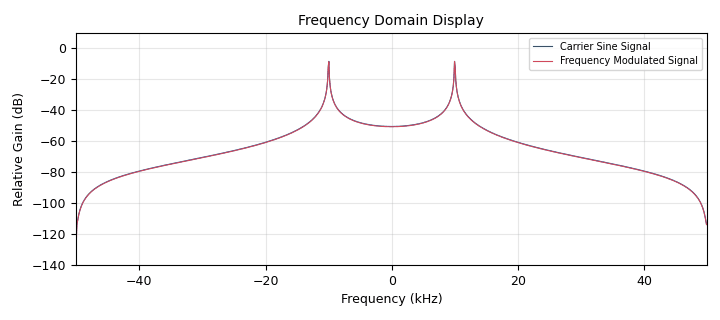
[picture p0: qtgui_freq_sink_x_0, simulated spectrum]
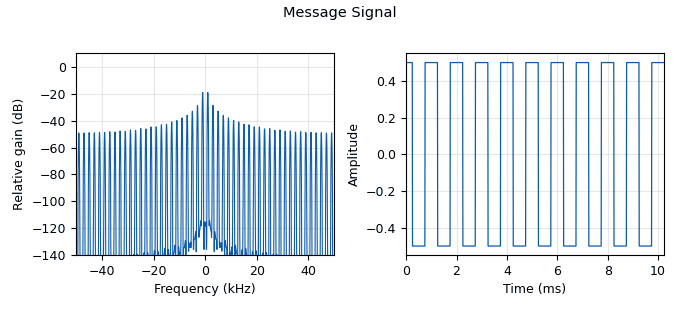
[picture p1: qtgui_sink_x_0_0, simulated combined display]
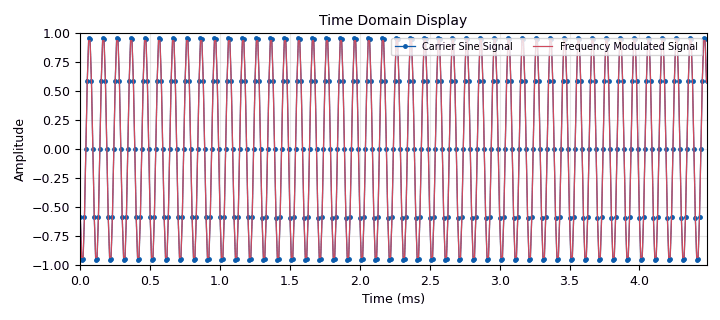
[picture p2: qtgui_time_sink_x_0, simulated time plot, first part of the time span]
options:
  parameters:
    author: Santosh
    copyright: '2022'
    generate_options: qt_gui
    id: Narrow_Band_Freq_Mod
    output_language: python
    title: Narrow_Band_Freq_Mod
  states: {}

blocks:
- name: samp_rate
  id: variable
  parameters:
    value: '100000'
  states: {}
- name: analog_phase_modulator_fc_0
  id: analog_phase_modulator_fc
  parameters:
    sensitivity: '0.2'
  states: {}
- name: analog_sig_source_x_0
  id: analog_sig_source_x
  parameters:
    amp: '1'
    freq: '1000'
    offset: '-0.5'
    phase: '0'
    samp_rate: samp_rate
    type: float
    waveform: analog.GR_SQR_WAVE
  states: {}
- name: analog_sig_source_x_0_0_0
  id: analog_sig_source_x
  parameters:
    amp: '1'
    freq: '10000'
    offset: '0'
    phase: '0'
    samp_rate: samp_rate
    type: float
    waveform: analog.GR_SIN_WAVE
  states: {}
- name: blocks_add_xx_0
  id: blocks_add_xx
  parameters:
    type: float
  states: {}
- name: blocks_complex_to_float_0
  id: blocks_complex_to_float
  parameters: {}
  states: {}
- name: blocks_complex_to_float_0_0
  id: blocks_complex_to_float
  parameters: {}
  states: {}
- name: blocks_float_to_complex_0
  id: blocks_float_to_complex
  parameters: {}
  states: {}
- name: blocks_integrate_xx_0
  id: blocks_integrate_xx
  parameters:
    decim: '2'
    type: float
  states: {}
- name: blocks_multiply_xx_0_0
  id: blocks_multiply_xx
  parameters:
    type: float
  states: {}
- name: blocks_phase_shift_0
  id: blocks_phase_shift
  parameters:
    is_radians: 'False'
    shift: '90'
  states: {}
- name: qtgui_freq_sink_x_0
  id: qtgui_freq_sink_x
  parameters:
    bw: samp_rate
    fc: '0'
    fftsize: '1024'
    label1: Carrier Sine Signal
    label2: Frequency Modulated Signal
    name: Frequency Domain Display
    nconnections: '2'
    type: float
    wintype: window.WIN_RECTANGULAR
  states: {}
- name: qtgui_sink_x_0_0
  id: qtgui_sink_x
  parameters:
    bw: samp_rate
    fc: '0'
    fftsize: '1024'
    name: Message Signal
    type: float
  states: {}
- name: qtgui_time_sink_x_0
  id: qtgui_time_sink_x
  parameters:
    label1: Carrier Sine Signal
    label2: Frequency Modulated Signal
    marker1: '1'
    name: Time Domain Display
    nconnections: '2'
    size: '1024'
    srate: samp_rate
    type: float
  states: {}

connections:
- [analog_phase_modulator_fc_0, '0', blocks_complex_to_float_0_0, '0']
- [analog_sig_source_x_0, '0', blocks_integrate_xx_0, '0']
- [analog_sig_source_x_0, '0', qtgui_sink_x_0_0, '0']
- [analog_sig_source_x_0_0_0, '0', blocks_float_to_complex_0, '0']
- [analog_sig_source_x_0_0_0, '0', blocks_multiply_xx_0_0, '1']
- [analog_sig_source_x_0_0_0, '0', qtgui_freq_sink_x_0, '0']
- [analog_sig_source_x_0_0_0, '0', qtgui_time_sink_x_0, '0']
- [blocks_add_xx_0, '0', qtgui_freq_sink_x_0, '1']
- [blocks_add_xx_0, '0', qtgui_time_sink_x_0, '1']
- [blocks_complex_to_float_0, '0', blocks_add_xx_0, '1']
- [blocks_complex_to_float_0_0, '0', blocks_multiply_xx_0_0, '0']
- [blocks_float_to_complex_0, '0', blocks_phase_shift_0, '0']
- [blocks_integrate_xx_0, '0', analog_phase_modulator_fc_0, '0']
- [blocks_multiply_xx_0_0, '0', blocks_add_xx_0, '0']
- [blocks_phase_shift_0, '0', blocks_complex_to_float_0, '0']

metadata:
  file_format: 1
  grc_version: 3.10.4.0
